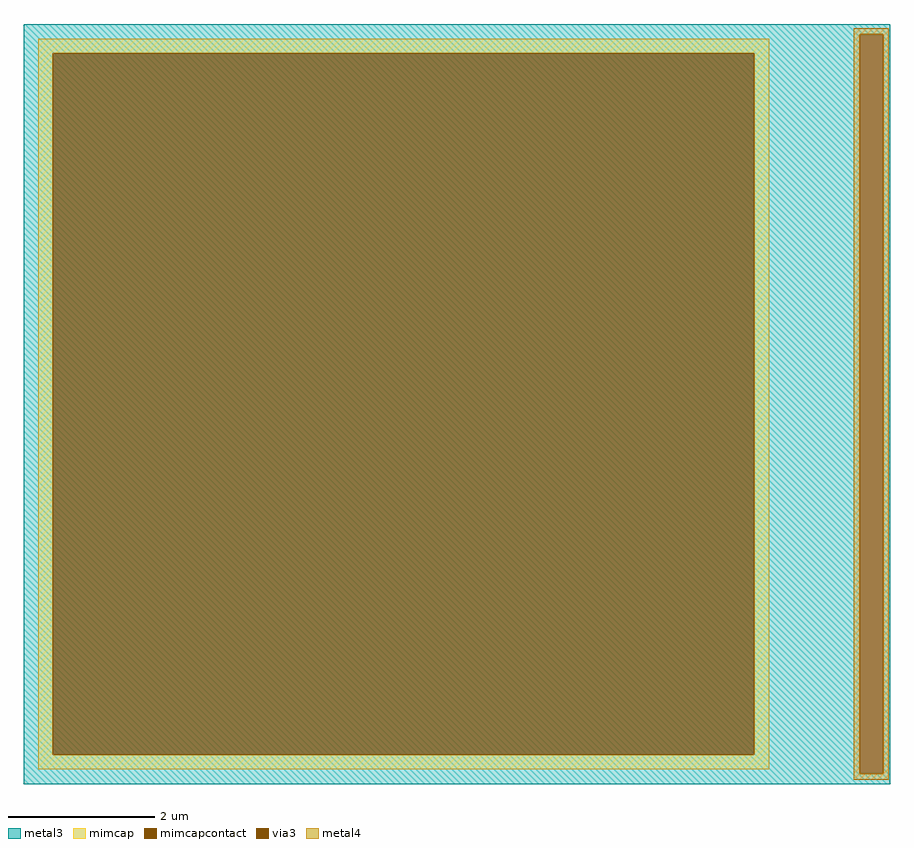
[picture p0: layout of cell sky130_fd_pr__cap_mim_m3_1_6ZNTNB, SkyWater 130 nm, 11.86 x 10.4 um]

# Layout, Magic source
magic
tech sky130A
<< metal3 >>
rect -593 506 593 520
rect -593 -506 551 506
rect 583 -506 593 506
rect -593 -520 593 -506
<< via3 >>
rect 551 -506 583 506
<< mimcap >>
rect -573 480 427 500
rect -573 -480 -553 480
rect 407 -480 427 480
rect -573 -500 427 -480
<< mimcapcontact >>
rect -553 -480 407 480
<< metal4 >>
rect 543 506 591 514
rect 543 -506 551 506
rect 583 -506 591 506
rect 543 -514 591 -506
<< properties >>
string FIXED_BBOX -593 -520 447 520
string gencell sky130_fd_pr__cap_mim_m3_1
string library sky130
string parameters w 10 l 10 val 207.6 carea 2.00 cperi 0.19 nx 1 ny 1 dummy 0 square 0 lmin 2.00 wmin 2.00 lmax 30.0 wmax 30.0 dc 0 bconnect 1 tconnect 1 ccov 100
<< end >>
